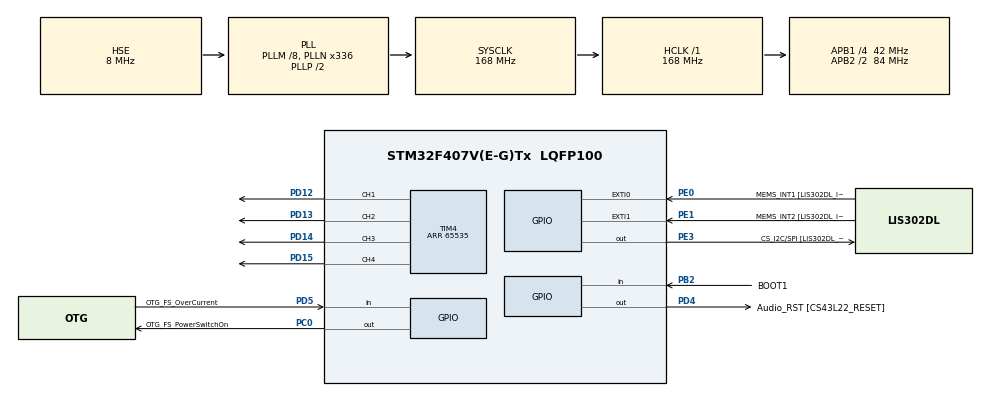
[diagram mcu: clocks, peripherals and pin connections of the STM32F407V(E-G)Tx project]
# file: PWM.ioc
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Mcu.Family=STM32F4
Mcu.Name=STM32F407V(E-G)Tx
Mcu.Package=LQFP100
NVIC.PriorityGroup=NVIC_PRIORITYGROUP_0
PA10.GPIO_Label=OTG_FS_ID
PA10.GPIO_Mode=GPIO_MODE_AF_PP
PA10.GPIO_PuPd=GPIO_NOPULL
PA10.GPIO_Speed=GPIO_SPEED_FREQ_LOW
PA10.Signal=USB_OTG_FS_ID
PA11.GPIO_Label=OTG_FS_DM
PA11.GPIO_Mode=GPIO_MODE_AF_PP
PA11.GPIO_PuPd=GPIO_NOPULL
PA11.GPIO_Speed=GPIO_SPEED_FREQ_LOW
PA11.Signal=USB_OTG_FS_DM
PA12.GPIO_Label=OTG_FS_DP
PA12.GPIO_Mode=GPIO_MODE_AF_PP
PA12.GPIO_PuPd=GPIO_NOPULL
PA12.GPIO_Speed=GPIO_SPEED_FREQ_LOW
PA12.Signal=USB_OTG_FS_DP
PA13.GPIO_Label=SWDIO
PA13.Mode=Trace-Asynchronous_SW
PA13.Signal=SYS_JTMS-SWDIO
PA14.GPIO_Label=SWCLK
PA14.Mode=Trace-Asynchronous_SW
PA14.Signal=SYS_JTCK-SWCLK
PA4.GPIO_Label=I2S3_WS [CS43L22_LRCK]
PA4.GPIO_Mode=GPIO_MODE_AF_PP
PA4.GPIO_PuPd=GPIO_NOPULL
PA4.GPIO_Speed=GPIO_SPEED_FREQ_LOW
PA4.Signal=I2S3_WS
PA5.GPIO_Label=SPI1_SCK [LIS302DL_SCL/SPC]
PA5.GPIO_Mode=GPIO_MODE_AF_PP
PA5.GPIO_PuPd=GPIO_NOPULL
PA5.GPIO_Speed=GPIO_SPEED_FREQ_LOW
PA5.Signal=SPI1_SCK
PA6.GPIO_Label=SPI1_MISO [LIS302DL_SDO]
PA6.GPIO_Mode=GPIO_MODE_AF_PP
PA6.GPIO_PuPd=GPIO_NOPULL
PA6.GPIO_Speed=GPIO_SPEED_FREQ_LOW
PA6.Signal=SPI1_MISO
PA7.GPIO_Label=SPI1_MOSI [LIS302DL_SDA/SDI/SDO]
PA7.GPIO_Mode=GPIO_MODE_AF_PP
PA7.GPIO_PuPd=GPIO_NOPULL
PA7.GPIO_Speed=GPIO_SPEED_FREQ_LOW
PA7.Signal=SPI1_MOSI
PA9.GPIO_Label=VBUS_FS
PA9.GPIO_Mode=GPIO_MODE_INPUT
PA9.GPIO_PuPd=GPIO_NOPULL
PA9.Signal=USB_OTG_FS_VBUS
PB10.GPIO_Label=CLK_IN [MP45DT02_CLK]
PB10.GPIO_Mode=GPIO_MODE_AF_PP
PB10.GPIO_PuPd=GPIO_NOPULL
PB10.GPIO_Speed=GPIO_SPEED_FREQ_LOW
PB10.Signal=I2S2_CK
PB2.GPIO_Label=BOOT1
PB2.GPIO_Mode=GPIO_MODE_INPUT
PB2.GPIO_PuPd=GPIO_NOPULL
PB2.Signal=GPIO_Input
PB3.GPIO_Label=SWO
PB3.Mode=Trace-Asynchronous_SW
PB3.Signal=SYS_JTDO-SWO
PB6.GPIO_Label=Audio_SCL [CS43L22_SCL]
PB6.GPIO_Mode=GPIO_MODE_AF_OD
PB6.GPIO_PuPd=GPIO_NOPULL
PB6.GPIO_Speed=GPIO_SPEED_FREQ_LOW
PB6.Signal=I2C1_SCL
PB9.GPIO_Label=Audio_SDA [CS43L22_SDA]
PB9.GPIO_Mode=GPIO_MODE_AF_OD
PB9.GPIO_PuPd=GPIO_NOPULL
PB9.GPIO_Speed=GPIO_SPEED_FREQ_LOW
PB9.Signal=I2C1_SDA
PC0.GPIO_Label=OTG_FS_PowerSwitchOn
PC0.GPIO_PuPd=GPIO_NOPULL
PC0.GPIO_Speed=GPIO_SPEED_FREQ_LOW
PC0.Signal=GPIO_Output
PC10.GPIO_Label=I2S3_SCK [CS43L22_SCLK]
PC10.GPIO_Mode=GPIO_MODE_AF_PP
PC10.GPIO_PuPd=GPIO_NOPULL
PC10.GPIO_Speed=GPIO_SPEED_FREQ_LOW
PC10.Signal=I2S3_CK
PC12.GPIO_Label=I2S3_SD [CS43L22_SDIN]
PC12.GPIO_Mode=GPIO_MODE_AF_PP
PC12.GPIO_PuPd=GPIO_NOPULL
PC12.GPIO_Speed=GPIO_SPEED_FREQ_LOW
PC12.Signal=I2S3_SD
PC14-OSC32_IN.GPIO_Label=PC14-OSC32_IN
PC14-OSC32_IN.Signal=RCC_OSC32_IN
PC15-OSC32_OUT.GPIO_Label=PC15-OSC32_OUT
PC15-OSC32_OUT.Signal=RCC_OSC32_OUT
PC3.GPIO_Label=PDM_OUT [MP45DT02_DOUT]
PC3.GPIO_Mode=GPIO_MODE_AF_PP
PC3.GPIO_PuPd=GPIO_NOPULL
PC3.GPIO_Speed=GPIO_SPEED_FREQ_LOW
PC3.Signal=I2S2_SD
PC7.GPIO_Label=I2S3_MCK [CS43L22_MCLK]
PC7.GPIO_Mode=GPIO_MODE_AF_PP
PC7.GPIO_PuPd=GPIO_NOPULL
PC7.GPIO_Speed=GPIO_SPEED_FREQ_LOW
PC7.Signal=I2S3_MCK
PD12.GPIO_Speed=GPIO_SPEED_FREQ_HIGH
PD12.Signal=S_TIM4_CH1
PD13.GPIO_Speed=GPIO_SPEED_FREQ_HIGH
PD13.Signal=S_TIM4_CH2
PD14.GPIO_Speed=GPIO_SPEED_FREQ_HIGH
PD14.Signal=S_TIM4_CH3
PD15.GPIO_Speed=GPIO_SPEED_FREQ_HIGH
PD15.Signal=S_TIM4_CH4
PD4.GPIO_Label=Audio_RST [CS43L22_RESET]
PD4.GPIO_PuPd=GPIO_NOPULL
PD4.GPIO_Speed=GPIO_SPEED_FREQ_LOW
PD4.Signal=GPIO_Output
PD5.GPIO_Label=OTG_FS_OverCurrent
PD5.GPIO_Mode=GPIO_MODE_INPUT
PD5.GPIO_PuPd=GPIO_NOPULL
PD5.Signal=GPIO_Input
PE0.GPIO_Label=MEMS_INT1 [LIS302DL_INT1]
PE0.Signal=GPXTI0
PE1.GPIO_Label=MEMS_INT2 [LIS302DL_INT2]
PE1.GPIO_ModeDefaultEXTI=GPIO_MODE_EVT_RISING
PE1.GPIO_PuPd=GPIO_NOPULL
PE1.Signal=GPXTI1
PE3.GPIO_Label=CS_I2C/SPI [LIS302DL_CS_I2C/SPI]
PE3.GPIO_PuPd=GPIO_NOPULL
PE3.GPIO_Speed=GPIO_SPEED_FREQ_LOW
PE3.Signal=GPIO_Output
PH0-OSC_IN.GPIO_Label=PH0-OSC_IN
PH0-OSC_IN.Mode=HSE-External-Oscillator
PH0-OSC_IN.Signal=RCC_OSC_IN
PH1-OSC_OUT.GPIO_Label=PH1-OSC_OUT
PH1-OSC_OUT.Mode=HSE-External-Oscillator
PH1-OSC_OUT.Signal=RCC_OSC_OUT
ProjectManager.HeapSize=0x400
ProjectManager.StackSize=0x200
ProjectManager.TargetToolchain=SW4STM32
RCC.AHBFreq_Value=168000000
RCC.APB1CLKDivider=RCC_HCLK_DIV4
RCC.APB1Freq_Value=42000000
RCC.APB1TimFreq_Value=84000000
RCC.APB2CLKDivider=RCC_HCLK_DIV2
RCC.APB2Freq_Value=84000000
RCC.APB2TimFreq_Value=168000000
RCC.CortexFreq_Value=168000000
RCC.HCLKFreq_Value=168000000
RCC.HSE_VALUE=8000000
RCC.HSI_VALUE=16000000
RCC.LSE_VALUE=32768
RCC.PLLM=8
RCC.PLLN=336
RCC.PLLQ=7
RCC.PLLSourceVirtual=RCC_PLLSOURCE_HSE
RCC.SYSCLKFreq_VALUE=168000000
RCC.SYSCLKSource=RCC_SYSCLKSOURCE_PLLCLK
RCC.VCOOutputFreq_Value=336000000
SH.S_TIM4_CH1.0=TIM4_CH1,PWM Generation1 CH1
SH.S_TIM4_CH2.0=TIM4_CH2,PWM Generation2 CH2
SH.S_TIM4_CH3.0=TIM4_CH3,PWM Generation3 CH3
SH.S_TIM4_CH4.0=TIM4_CH4,PWM Generation4 CH4
TIM4.Channel-PWM\ Generation2\ CH2=TIM_CHANNEL_2
TIM4.Channel-PWM\ Generation3\ CH3=TIM_CHANNEL_3
TIM4.Channel-PWM\ Generation4\ CH4=TIM_CHANNEL_4
TIM4.Period=65535
board=STM32F407G-DISC1

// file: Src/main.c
/**
  ******************************************************************************
  * File Name          : main.c
  * Description        : Main program body
  ******************************************************************************
  *
  * COPYRIGHT(c) 2016 STMicroelectronics
  *
  * Redistribution and use in source and binary forms, with or without modification,
  * are permitted provided that the following conditions are met:
  *   1. Redistributions of source code must retain the above copyright notice,
  *      this list of conditions and the following disclaimer.
  *   2. Redistributions in binary form must reproduce the above copyright notice,
  *      this list of conditions and the following disclaimer in the documentation
  *      and/or other materials provided with the distribution.
  *   3. Neither the name of STMicroelectronics nor the names of its contributors
  *      may be used to endorse or promote products derived from this software
  *      without specific prior written permission.
  *
  * THIS SOFTWARE IS PROVIDED BY THE COPYRIGHT HOLDERS AND CONTRIBUTORS "AS IS"
  * AND ANY EXPRESS OR IMPLIED WARRANTIES, INCLUDING, BUT NOT LIMITED TO, THE
  * IMPLIED WARRANTIES OF MERCHANTABILITY AND FITNESS FOR A PARTICULAR PURPOSE ARE
  * DISCLAIMED. IN NO EVENT SHALL THE COPYRIGHT HOLDER OR CONTRIBUTORS BE LIABLE
  * FOR ANY DIRECT, INDIRECT, INCIDENTAL, SPECIAL, EXEMPLARY, OR CONSEQUENTIAL
  * DAMAGES (INCLUDING, BUT NOT LIMITED TO, PROCUREMENT OF SUBSTITUTE GOODS OR
  * SERVICES; LOSS OF USE, DATA, OR PROFITS; OR BUSINESS INTERRUPTION) HOWEVER
  * CAUSED AND ON ANY THEORY OF LIABILITY, WHETHER IN CONTRACT, STRICT LIABILITY,
  * OR TORT (INCLUDING NEGLIGENCE OR OTHERWISE) ARISING IN ANY WAY OUT OF THE USE
  * OF THIS SOFTWARE, EVEN IF ADVISED OF THE POSSIBILITY OF SUCH DAMAGE.
  *
  ******************************************************************************
  */
#include "stm32f4xx_hal.h"
#include "tim.h"
#include "gpio.h"

/* USER CODE BEGIN PV */
/* Private variables ---------------------------------------------------------*/

/* USER CODE END PV */

void SystemClock_Config(void);

/* USER CODE BEGIN PFP */
/* Private function prototypes -----------------------------------------------*/

/* USER CODE END PFP */

int main(void)
{

  /* MCU Configuration----------------------------------------------------------*/

  /* Reset of all peripherals, Initializes the Flash interface and the Systick. */
  HAL_Init();

  /* Configure the system clock */
  SystemClock_Config();

  /* Initialize all configured peripherals */
  MX_GPIO_Init();
  MX_TIM4_Init();

  /* USER CODE BEGIN 2 */
  //HAL_TIM_Base_Start_IT(&htim6);
  HAL_TIM_PWM_Start(&htim4, TIM_CHANNEL_1);
  HAL_TIM_PWM_Start(&htim4, TIM_CHANNEL_2);
  HAL_TIM_PWM_Start(&htim4, TIM_CHANNEL_3);
  HAL_TIM_PWM_Start(&htim4, TIM_CHANNEL_4);
  /* USER CODE END 2 */

  /* Infinite loop */
  /* USER CODE BEGIN WHILE */
  uint32_t counter = 1;
  uint8_t flag = 1;
  uint32_t nops = 0;
  while (1)
  {
  /* USER CODE END WHILE */

  /* USER CODE BEGIN 3 */

  // Simple dalay
  for(nops = 1;nops < 256; ++nops){__NOP();}

  if(flag){
    htim4.Instance->CCR1 = counter;
    htim4.Instance->CCR2 = counter;
    htim4.Instance->CCR3 = counter;
    htim4.Instance->CCR4 = counter;
    ++counter;
  }
  else{
    htim4.Instance->CCR1 = counter;
    htim4.Instance->CCR2 = counter;
    htim4.Instance->CCR3 = counter;
    htim4.Instance->CCR4 = counter;
    --counter;
  }

  if(counter >= 0xFFFD){
      flag = 0;
  }
  else if(counter == 0)
      flag = 1;
  }
  /* USER CODE END 3 */

}

/** System Clock Configuration
*/
void SystemClock_Config(void)
{

  RCC_OscInitTypeDef RCC_OscInitStruct;
  RCC_ClkInitTypeDef RCC_ClkInitStruct;

  __HAL_RCC_PWR_CLK_ENABLE();

  __HAL_PWR_VOLTAGESCALING_CONFIG(PWR_REGULATOR_VOLTAGE_SCALE1);

  RCC_OscInitStruct.OscillatorType = RCC_OSCILLATORTYPE_HSE;
  RCC_OscInitStruct.HSEState = RCC_HSE_ON;
  RCC_OscInitStruct.PLL.PLLState = RCC_PLL_ON;
  RCC_OscInitStruct.PLL.PLLSource = RCC_PLLSOURCE_HSE;
  RCC_OscInitStruct.PLL.PLLM = 8;
  RCC_OscInitStruct.PLL.PLLN = 336;
  RCC_OscInitStruct.PLL.PLLP = RCC_PLLP_DIV2;
  RCC_OscInitStruct.PLL.PLLQ = 7;
  HAL_RCC_OscConfig(&RCC_OscInitStruct);

  RCC_ClkInitStruct.ClockType = RCC_CLOCKTYPE_HCLK|RCC_CLOCKTYPE_SYSCLK
                              |RCC_CLOCKTYPE_PCLK1|RCC_CLOCKTYPE_PCLK2;
  RCC_ClkInitStruct.SYSCLKSource = RCC_SYSCLKSOURCE_PLLCLK;
  RCC_ClkInitStruct.AHBCLKDivider = RCC_SYSCLK_DIV1;
  RCC_ClkInitStruct.APB1CLKDivider = RCC_HCLK_DIV4;
  RCC_ClkInitStruct.APB2CLKDivider = RCC_HCLK_DIV2;
  HAL_RCC_ClockConfig(&RCC_ClkInitStruct, FLASH_LATENCY_5);

  HAL_SYSTICK_Config(HAL_RCC_GetHCLKFreq()/1000);

  HAL_SYSTICK_CLKSourceConfig(SYSTICK_CLKSOURCE_HCLK);

  /* SysTick_IRQn interrupt configuration */
  HAL_NVIC_SetPriority(SysTick_IRQn, 0, 0);
}

/************************ (C) COPYRIGHT STMicroelectronics *****END OF FILE****/
